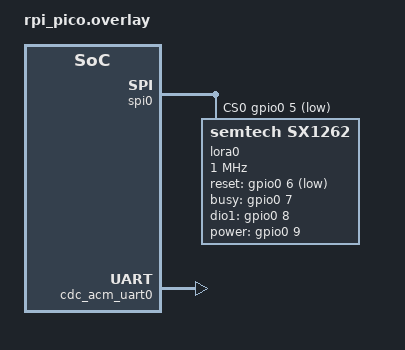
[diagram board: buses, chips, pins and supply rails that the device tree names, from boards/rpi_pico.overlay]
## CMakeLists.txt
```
# SPDX-License-Identifier: MIT

cmake_minimum_required(VERSION 3.20.0)

find_package(Zephyr REQUIRED HINTS $ENV{ZEPHYR_BASE})
project(aether_modem)

target_sources(app PRIVATE 
    src/main.c
    src/at_parser.c
    src/at_commands.c
    src/message_store.c
)
```

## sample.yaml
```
sample:
  name: Æther AT Command Modem
  description: AT command interface for Æther mesh network access
  
common:
  tags:
    - net
    - lora
    - mesh
    - modem
    - usb
    
  harness: console
  harness_config:
    type: one_line
    regex:
      - "Aether modem ready"
      
  platform_allow:
    - rpi_pico
    - esp32s3_devkitc/esp32s3/procpu
    - nrf52840dk_nrf52840
    
  integration_platforms:
    - rpi_pico
    
  filter: dt_chosen_enabled("zephyr,lora") and CONFIG_USB_DEVICE_STACK
  
tests:
  sample.net.aether.modem:
    tags:
      - net
      - lora
      - usb
```

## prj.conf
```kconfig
# SPDX-License-Identifier: MIT

# Networking
CONFIG_NETWORKING=y
CONFIG_NET_L2_CUSTOM=y

# LoRa and Æther stack
CONFIG_LORA=y
CONFIG_LORA_SX126X=y
CONFIG_NET_L2_HEYMAC=y
CONFIG_AETHER_MESH=y
CONFIG_AETHER_LORA=y

# USB CDC ACM for serial interface
CONFIG_USB_DEVICE_STACK=y
CONFIG_USB_DEVICE_PRODUCT="Aether Modem"
CONFIG_USB_DEVICE_VID=0x2E8A
CONFIG_USB_DEVICE_PID=0x000A
CONFIG_USB_CDC_ACM=y

# UART for AT commands
CONFIG_SERIAL=y
CONFIG_UART_INTERRUPT_DRIVEN=y
CONFIG_UART_LINE_CTRL=y

# Console and shell disabled (using UART for AT commands)
CONFIG_CONSOLE=n
CONFIG_UART_CONSOLE=n
CONFIG_SHELL=n

# AT command interface
CONFIG_RING_BUFFER=y

# Message storage
CONFIG_HEAP_MEM_POOL_SIZE=8192

# Thread stack sizes (smaller for RP2040)
CONFIG_MAIN_STACK_SIZE=2048
CONFIG_AETHER_RX_STACK_SIZE=1536
CONFIG_AETHER_TX_STACK_SIZE=1024
CONFIG_SYSTEM_WORKQUEUE_STACK_SIZE=1024

# Logging (optional, can be disabled for production)
CONFIG_LOG=y
CONFIG_LOG_BACKEND_UART=n
CONFIG_LOG_BACKEND_RTT=y

# Power optimization
CONFIG_PM=y
CONFIG_PM_DEVICE=y

# Minimal footprint optimizations
CONFIG_SIZE_OPTIMIZATIONS=y
CONFIG_COMPILER_OPT="-Os"
CONFIG_PRINTK=n
```

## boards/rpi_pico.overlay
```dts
/*
 * Copyright (c) 2025 Æther Authors
 *
 * SPDX-License-Identifier: MIT
 */

/ {
    chosen {
        zephyr,lora = &lora0;
    };
    
    aether_config: aether-mesh-net {
        compatible = "aether-mesh-net";
        network-id = <0x915E>;
        mesh-enabled = <1>;
        max-hops = <6>;
        hello-interval = <60>;      /* Longer interval for power saving */
        route-timeout = <600>;
        use-short-addr = <1>;       /* Use short addresses by default */
        conditional-net-id = <1>;   /* Enable optimization */
    };
};

&spi0 {
    status = "okay";
    cs-gpios = <&gpio0 5 GPIO_ACTIVE_LOW>;
    
    lora0: sx1262@0 {
        compatible = "semtech,sx1262";
        reg = <0>;
        spi-max-frequency = <1000000>;
        
        /* RP2040 Pico pin assignments */
        reset-gpios = <&gpio0 6 GPIO_ACTIVE_LOW>;
        busy-gpios = <&gpio0 7 GPIO_ACTIVE_HIGH>;
        dio1-gpios = <&gpio0 8 GPIO_ACTIVE_HIGH>;
        
        /* Optional power control */
        power-gpios = <&gpio0 9 GPIO_ACTIVE_HIGH>;
        
        status = "okay";
    };
};

/* USB CDC ACM is default on Pico */
&zephyr_udc0 {
    cdc_acm_uart0: cdc_acm_uart0 {
        compatible = "zephyr,cdc-acm-uart";
    };
};
```

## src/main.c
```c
/*
 * Copyright (c) 2025 Æther Authors
 *
 * SPDX-License-Identifier: MIT
 */

#include <zephyr/kernel.h>
#include <zephyr/device.h>
#include <zephyr/drivers/uart.h>
#include <zephyr/usb/usb_device.h>
#include <zephyr/net/net_if.h>
#include <zephyr/net/heymac.h>
#include <zephyr/net/aether_mesh.h>
#include <zephyr/logging/log.h>

LOG_MODULE_REGISTER(aether_modem, LOG_LEVEL_INF);

/* AT command interface headers */
#include "at_parser.h"
#include "at_commands.h"
#include "message_store.h"

/* UART device for AT commands */
static const struct device *uart_dev;
static struct net_if *aether_iface;

/* AT command buffer */
#define AT_CMD_BUF_SIZE 256
static char at_cmd_buf[AT_CMD_BUF_SIZE];
static size_t at_cmd_pos = 0;

/* UART interrupt handler */
static void uart_isr(const struct device *dev, void *user_data)
{
	uint8_t c;

	if (!uart_irq_update(dev)) {
		return;
	}

	while (uart_irq_rx_ready(dev)) {
		if (uart_fifo_read(dev, &c, 1) != 1) {
			continue;
		}

		/* Handle AT command input */
		if (c == '\r' || c == '\n') {
			if (at_cmd_pos > 0) {
				at_cmd_buf[at_cmd_pos] = '\0';
				/* Process AT command */
				at_parser_process_command(at_cmd_buf);
				at_cmd_pos = 0;
			}
		} else if (at_cmd_pos < AT_CMD_BUF_SIZE - 1) {
			at_cmd_buf[at_cmd_pos++] = c;
			/* Echo character if enabled */
			if (at_get_echo_mode()) {
				uart_poll_out(dev, c);
			}
		}
	}
}

/* UART helper functions */
void at_uart_send(const char *str)
{
	const char *p = str;
	
	while (*p) {
		uart_poll_out(uart_dev, *p++);
	}
	uart_poll_out(uart_dev, '\r');
	uart_poll_out(uart_dev, '\n');
}

void at_uart_send_raw(const char *str)
{
	const char *p = str;
	
	while (*p) {
		uart_poll_out(uart_dev, *p++);
	}
}

/* Main entry point */
int main(void)
{
	int ret;

	LOG_INF("Æther Modem Starting");

	/* Get UART device */
	uart_dev = DEVICE_DT_GET(DT_CHOSEN(zephyr_console));
	if (!device_is_ready(uart_dev)) {
		LOG_ERR("UART device not ready");
		return -ENODEV;
	}

	/* Configure UART */
	const struct uart_config uart_cfg = {
		.baudrate = 9600,
		.parity = UART_CFG_PARITY_NONE,
		.stop_bits = UART_CFG_STOP_BITS_1,
		.data_bits = UART_CFG_DATA_BITS_8,
		.flow_ctrl = UART_CFG_FLOW_CTRL_NONE
	};
	
	ret = uart_configure(uart_dev, &uart_cfg);
	if (ret < 0) {
		LOG_ERR("Failed to configure UART: %d", ret);
		return ret;
	}

	/* Setup UART interrupt */
	uart_irq_callback_user_data_set(uart_dev, uart_isr, NULL);
	uart_irq_rx_enable(uart_dev);

#ifdef CONFIG_USB_DEVICE_STACK
	/* Initialize USB */
	ret = usb_enable(NULL);
	if (ret < 0) {
		LOG_ERR("Failed to enable USB: %d", ret);
		return ret;
	}
	
	/* Wait for USB to be ready */
	k_sleep(K_SECONDS(1));
#endif

	/* Get network interface */
	aether_iface = net_if_get_default();
	if (!aether_iface) {
		LOG_ERR("No network interface available");
		return -ENODEV;
	}

	/* Initialize AT command processor */
	at_parser_init(aether_iface);
	
	/* Initialize message store */
	msg_store_init();

	/* Send ready message */
	at_uart_send("Aether modem ready");
	at_uart_send("OK");

	LOG_INF("AT command interface ready");

	/* Main loop - everything handled in interrupts/threads */
	while (1) {
		k_sleep(K_FOREVER);
	}

	return 0;
}
```

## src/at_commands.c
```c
/*
 * Copyright (c) 2025 Æther Authors
 *
 * SPDX-License-Identifier: MIT
 */

#include <zephyr/kernel.h>
#include <zephyr/logging/log.h>
#include <zephyr/net/heymac.h>
#include <zephyr/net/aether_mesh.h>
#include <zephyr/sys/reboot.h>
#include <string.h>
#include <stdlib.h>
#include <ctype.h>

#include "at_commands.h"
#include "message_store.h"

LOG_MODULE_REGISTER(at_commands, LOG_LEVEL_DBG);

/* Command table */
static const struct at_command system_commands[] = {
	{ "RESET",    cmd_reset,    "Reset the interface device" },
	{ "VER",      cmd_version,  "Query firmware version" },
	{ "ECHO",     cmd_echo,     "Enable/disable command echo" },
	{ "VERBOSE",  cmd_verbose,  "Set verbosity level (0-2)" },
	{ "BAUD",     cmd_baud,     "Set baud rate" },
	{ "FLOW",     cmd_flow,     "Set flow control mode" },
	{ "SAVE",     cmd_save,     "Save current settings" },
	{ "HELP",     cmd_help,     "List available commands" },
	{ NULL, NULL, NULL }
};

static const struct at_command network_commands[] = {
	{ "INIT",      cmd_init,      "Initialize LoRa hardware" },
	{ "NETALIAS",  cmd_netalias,  "Set node alias name" },
	{ "NETADDR",   cmd_netaddr,   "Query LoRa network address" },
	{ "NETID",     cmd_netid,     "Set network ID" },
	{ "NETJOIN",   cmd_netjoin,   "Join Aether network" },
	{ "NETLEAVE",  cmd_netleave,  "Leave Aether network" },
	{ "NETSTAT",   cmd_netstat,   "Network status" },
	{ "NEIGH",     cmd_neigh,     "List neighbor nodes" },
	{ "ROUTE",     cmd_route,     "Query routing table" },
	{ "DUTYCYCLE", cmd_dutycycle, "Query remaining duty cycle" },
	{ "SLEEP",     cmd_sleep,     "Enter power saving mode" },
	{ "WAKE",      cmd_wake,      "Wake from sleep mode" },
	{ NULL, NULL, NULL }
};

static const struct at_command message_commands[] = {
	{ "MSGSEND",  cmd_msgsend,  "Begin message send" },
	{ "MSGTO",    cmd_msgto,    "Set default message destination" },
	{ "MSGMODE",  cmd_msgmode,  "Set message mode" },
	{ "MSGRECV",  cmd_msgrecv,  "Check for received messages" },
	{ "MSGREAD",  cmd_msgread,  "Read specific message" },
	{ "MSGLIST",  cmd_msglist,  "List stored messages" },
	{ "MSGDEL",   cmd_msgdel,   "Delete message" },
	{ "MSGACK",   cmd_msgack,   "Configure delivery reports" },
	{ "MSGSENT",  cmd_msgsent,  "Check if message was sent" },
	{ NULL, NULL, NULL }
};

/* Command categories */
static const struct at_command *command_tables[] = {
	[AT_CAT_SYSTEM] = system_commands,
	[AT_CAT_NETWORK] = network_commands,
	[AT_CAT_MESSAGE] = message_commands,
	/* TODO: Add other categories */
};

/* Parser reference */
static struct at_parser *g_parser;

/* Initialize commands */
void at_commands_init(struct at_parser *parser)
{
	g_parser = parser;
	LOG_DBG("AT commands initialized");
}

/* Find and dispatch command */
bool at_dispatch_command(const char *cmd, const char *params, bool query)
{
	/* Search all command tables */
	for (int cat = 0; cat < AT_CAT_MAX; cat++) {
		const struct at_command *table = command_tables[cat];
		if (!table) continue;
		
		for (int i = 0; table[i].name; i++) {
			if (strcmp(cmd, table[i].name) == 0) {
				if (table[i].handler) {
					int ret = table[i].handler(params, query);
					if (ret < 0) {
						return false;
					}
					return true;
				}
			}
		}
	}
	
	return false;
}

/* Helper functions */
int at_parse_hex(const char *str, uint8_t *buf, size_t max_len)
{
	size_t len = 0;
	
	while (*str && len < max_len) {
		char hex[3] = {0};
		hex[0] = *str++;
		if (!*str) break;
		hex[1] = *str++;
		
		buf[len++] = (uint8_t)strtol(hex, NULL, 16);
	}
	
	return len;
}

int at_parse_int(const char *str, int *value)
{
	char *endptr;
	*value = strtol(str, &endptr, 10);
	return (*endptr == '\0') ? 0 : -EINVAL;
}

int at_parse_uint(const char *str, unsigned int *value)
{
	char *endptr;
	*value = strtoul(str, &endptr, 10);
	return (*endptr == '\0') ? 0 : -EINVAL;
}

bool at_parse_bool(const char *str)
{
	return (strcmp(str, "1") == 0 || 
	        strcasecmp(str, "true") == 0 ||
	        strcasecmp(str, "on") == 0);
}

/* System Commands Implementation */

int cmd_reset(const char *params, bool query)
{
	ARG_UNUSED(params);
	ARG_UNUSED(query);
	
	at_send_response(AT_OK);
	k_sleep(K_MSEC(100));  /* Let response go out */
	sys_reboot(SYS_REBOOT_COLD);
	return 0;
}

int cmd_version(const char *params, bool query)
{
	ARG_UNUSED(params);
	
	if (!query) {
		at_send_error(AT_ERR_INVALID_CMD);
		return -EINVAL;
	}
	
	at_send_response_fmt("+VER: Aether Modem v1.0.0");
	at_send_response_fmt("+VER: Zephyr %s", KERNEL_VERSION_STRING);
	at_send_response(AT_OK);
	return 0;
}

int cmd_echo(const char *params, bool query)
{
	if (query) {
		at_send_response_fmt("+ECHO: %d", g_parser->config.echo_enabled ? 1 : 0);
		at_send_response(AT_OK);
		return 0;
	}
	
	if (!params) {
		at_send_error(AT_ERR_INVALID_PARAM);
		return -EINVAL;
	}
	
	g_parser->config.echo_enabled = at_parse_bool(params);
	at_send_response(AT_OK);
	return 0;
}

int cmd_verbose(const char *params, bool query)
{
	if (query) {
		at_send_response_fmt("+VERBOSE: %d", g_parser->config.verbose_level);
		at_send_response(AT_OK);
		return 0;
	}
	
	if (!params) {
		at_send_error(AT_ERR_INVALID_PARAM);
		return -EINVAL;
	}
	
	unsigned int level;
	if (at_parse_uint(params, &level) < 0 || level > 2) {
		at_send_error(AT_ERR_INVALID_PARAM);
		return -EINVAL;
	}
	
	g_parser->config.verbose_level = level;
	at_send_response(AT_OK);
	return 0;
}

int cmd_help(const char *params, bool query)
{
	ARG_UNUSED(query);
	
	if (params && strlen(params) > 0) {
		/* Help for specific command */
		for (int cat = 0; cat < AT_CAT_MAX; cat++) {
			const struct at_command *table = command_tables[cat];
			if (!table) continue;
			
			for (int i = 0; table[i].name; i++) {
				if (strcasecmp(params, table[i].name) == 0) {
					at_send_response_fmt("+HELP: %s - %s", 
					                     table[i].name, table[i].help);
					at_send_response(AT_OK);
					return 0;
				}
			}
		}
		at_send_error(AT_ERR_INVALID_PARAM);
		return -EINVAL;
	}
	
	/* List all commands */
	at_send_response("+HELP: Available commands:");
	for (int cat = 0; cat < AT_CAT_MAX; cat++) {
		const struct at_command *table = command_tables[cat];
		if (!table) continue;
		
		for (int i = 0; table[i].name; i++) {
			at_send_response_fmt("+HELP: AT+%s", table[i].name);
		}
	}
	at_send_response(AT_OK);
	return 0;
}

/* Network Commands Implementation */

int cmd_init(const char *params, bool query)
{
	ARG_UNUSED(params);
	ARG_UNUSED(query);
	
	if (g_parser->initialized) {
		at_send_response(AT_OK);
		return 0;
	}
	
	/* Wait for network interface */
	if (!net_if_is_up(g_parser->iface)) {
		at_send_error(AT_ERR_NET_NOT_INIT);
		return -ENETDOWN;
	}
	
	g_parser->initialized = true;
	at_send_response(AT_OK);
	return 0;
}

int cmd_netalias(const char *params, bool query)
{
	if (query) {
		at_send_response_fmt("+NETALIAS: %s", g_parser->config.node_alias);
		at_send_response(AT_OK);
		return 0;
	}
	
	if (!params || strlen(params) == 0 || strlen(params) > 15) {
		at_send_error(AT_ERR_INVALID_PARAM);
		return -EINVAL;
	}
	
	strncpy(g_parser->config.node_alias, params, 15);
	g_parser->config.node_alias[15] = '\0';
	at_send_response(AT_OK);
	return 0;
}

int cmd_netaddr(const char *params, bool query)
{
	ARG_UNUSED(params);
	
	if (!query) {
		at_send_error(AT_ERR_INVALID_CMD);
		return -EINVAL;
	}
	
	if (!g_parser->initialized) {
		at_send_error(AT_ERR_NET_NOT_INIT);
		return -ENETDOWN;
	}
	
	struct heymac_addr addr;
	if (heymac_get_addr(g_parser->iface, &addr) < 0) {
		at_send_error(AT_ERR_UNKNOWN);
		return -EIO;
	}
	
	if (heymac_addr_is_short(&addr)) {
		at_send_response_fmt("+NETADDR: %02X%02X", 
		                     addr.short_addr[0], addr.short_addr[1]);
	} else {
		at_send_response_fmt("+NETADDR: %02X%02X%02X%02X%02X%02X",
		                     addr.long_addr[0], addr.long_addr[1],
		                     addr.long_addr[2], addr.long_addr[3],
		                     addr.long_addr[4], addr.long_addr[5]);
	}
	at_send_response(AT_OK);
	return 0;
}

int cmd_netjoin(const char *params, bool query)
{
	ARG_UNUSED(params);
	ARG_UNUSED(query);
	
	if (!g_parser->initialized) {
		at_send_error(AT_ERR_NET_NOT_INIT);
		return -ENETDOWN;
	}
	
	if (g_parser->connected) {
		at_send_response(AT_OK);
		return 0;
	}
	
	/* Initialize Æther mesh */
	int ret = aether_mesh_init(g_parser->iface, g_parser->config.network_id);
	if (ret < 0) {
		at_send_error(AT_ERR_NET_NOT_CONNECTED);
		return ret;
	}
	
	g_parser->connected = true;
	at_send_response(AT_OK);
	at_send_notification("NETJOIN", "CONNECTED");
	return 0;
}

int cmd_netleave(const char *params, bool query)
{
	ARG_UNUSED(params);
	ARG_UNUSED(query);
	
	if (!g_parser->connected) {
		at_send_response(AT_OK);
		return 0;
	}
	
	/* TODO: Implement mesh leave */
	g_parser->connected = false;
	at_send_response(AT_OK);
	at_send_notification("NETLEAVE", "DISCONNECTED");
	return 0;
}

int cmd_netstat(const char *params, bool query)
{
	ARG_UNUSED(params);
	ARG_UNUSED(query);
	
	at_send_response_fmt("+NETSTAT: INIT=%d", g_parser->initialized ? 1 : 0);
	at_send_response_fmt("+NETSTAT: CONNECTED=%d", g_parser->connected ? 1 : 0);
	
	if (g_parser->connected) {
		int neighbors = aether_mesh_get_neighbor_count(g_parser->iface);
		int routes = aether_mesh_get_route_count(g_parser->iface);
		at_send_response_fmt("+NETSTAT: NEIGHBORS=%d", neighbors);
		at_send_response_fmt("+NETSTAT: ROUTES=%d", routes);
	}
	
	at_send_response(AT_OK);
	return 0;
}

int cmd_neigh(const char *params, bool query)
{
	ARG_UNUSED(params);
	ARG_UNUSED(query);
	
	if (!g_parser->connected) {
		at_send_error(AT_ERR_NET_NOT_CONNECTED);
		return -ENETDOWN;
	}
	
	/* TODO: Implement neighbor listing */
	at_send_response("+NEIGH: No neighbors");
	at_send_response(AT_OK);
	return 0;
}

/* Stub implementations for remaining commands */
int cmd_baud(const char *params, bool query) { return 0; }
int cmd_flow(const char *params, bool query) { return 0; }
int cmd_save(const char *params, bool query) { return 0; }
int cmd_netid(const char *params, bool query) { return 0; }
int cmd_route(const char *params, bool query) { return 0; }
int cmd_dutycycle(const char *params, bool query) { return 0; }
int cmd_sleep(const char *params, bool query) { return 0; }
int cmd_wake(const char *params, bool query) { return 0; }
int cmd_msgsend(const char *params, bool query) { return 0; }
int cmd_msgto(const char *params, bool query) { return 0; }
int cmd_msgmode(const char *params, bool query) { return 0; }
int cmd_msgrecv(const char *params, bool query) { return 0; }
int cmd_msgread(const char *params, bool query) { return 0; }
int cmd_msglist(const char *params, bool query) { return 0; }
int cmd_msgdel(const char *params, bool query) { return 0; }
int cmd_msgack(const char *params, bool query) { return 0; }
int cmd_msgsent(const char *params, bool query) { return 0; }
```

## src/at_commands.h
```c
/*
 * Copyright (c) 2025 Æther Authors
 *
 * SPDX-License-Identifier: MIT
 */

#ifndef AT_COMMANDS_H_
#define AT_COMMANDS_H_

#include <stdbool.h>
#include "at_parser.h"

/* Command handler function type */
typedef int (*at_cmd_handler_t)(const char *params, bool query);

/* Command entry */
struct at_command {
	const char *name;
	at_cmd_handler_t handler;
	const char *help;
};

/* Command categories for organization */
enum at_cmd_category {
	AT_CAT_SYSTEM,
	AT_CAT_NETWORK,
	AT_CAT_MESSAGE,
	AT_CAT_9P,
	AT_CAT_STORE_FWD,
	AT_CAT_SERVICE,
	AT_CAT_SECURITY,
	AT_CAT_MAX
};

/* Initialize command handlers */
void at_commands_init(struct at_parser *parser);

/* Dispatch command to handler */
bool at_dispatch_command(const char *cmd, const char *params, bool query);

/* Helper functions for command handlers */
int at_parse_hex(const char *str, uint8_t *buf, size_t max_len);
int at_parse_int(const char *str, int *value);
int at_parse_uint(const char *str, unsigned int *value);
bool at_parse_bool(const char *str);

/* UART helpers */
void at_uart_send(const char *str);
void at_uart_send_raw(const char *str);

/* Global parser access */
struct at_parser *at_get_parser(void);
int at_setup_data_mode(size_t expected_len, 
                       void (*handler)(const uint8_t *, size_t, void *),
                       void *user_data);

/* System commands */
int cmd_reset(const char *params, bool query);
int cmd_version(const char *params, bool query);
int cmd_echo(const char *params, bool query);
int cmd_verbose(const char *params, bool query);
int cmd_baud(const char *params, bool query);
int cmd_flow(const char *params, bool query);
int cmd_save(const char *params, bool query);
int cmd_help(const char *params, bool query);

/* Network commands */
int cmd_init(const char *params, bool query);
int cmd_netalias(const char *params, bool query);
int cmd_netaddr(const char *params, bool query);
int cmd_netid(const char *params, bool query);
int cmd_netjoin(const char *params, bool query);
int cmd_netleave(const char *params, bool query);
int cmd_netstat(const char *params, bool query);
int cmd_neigh(const char *params, bool query);
int cmd_route(const char *params, bool query);
int cmd_dutycycle(const char *params, bool query);
int cmd_sleep(const char *params, bool query);
int cmd_wake(const char *params, bool query);

/* Message commands */
int cmd_msgsend(const char *params, bool query);
int cmd_msgto(const char *params, bool query);
int cmd_msgmode(const char *params, bool query);
int cmd_msgrecv(const char *params, bool query);
int cmd_msgread(const char *params, bool query);
int cmd_msglist(const char *params, bool query);
int cmd_msgdel(const char *params, bool query);
int cmd_msgack(const char *params, bool query);
int cmd_msgsent(const char *params, bool query);

/* 9P/Styx commands */
int cmd_9p_attach(const char *params, bool query);
int cmd_9p_walk(const char *params, bool query);
int cmd_9p_open(const char *params, bool query);
int cmd_9p_read(const char *params, bool query);
int cmd_9p_write(const char *params, bool query);
int cmd_9p_stat(const char *params, bool query);
int cmd_9p_clunk(const char *params, bool query);
int cmd_9p_ls(const char *params, bool query);
int cmd_9p_cat(const char *params, bool query);
int cmd_9p_mkdir(const char *params, bool query);
int cmd_9p_touch(const char *params, bool query);

/* Store-and-forward commands */
int cmd_sf_queue(const char *params, bool query);
int cmd_sf_status(const char *params, bool query);
int cmd_sf_list(const char *params, bool query);
int cmd_sf_cache(const char *params, bool query);
int cmd_sf_purge(const char *params, bool query);
int cmd_sf_prefs(const char *params, bool query);

/* Service commands */
int cmd_svc_list(const char *params, bool query);
int cmd_svc_conn(const char *params, bool query);
int cmd_svc_disc(const char *params, bool query);
int cmd_bbs_ls(const char *params, bool query);
int cmd_bbs_read(const char *params, bool query);
int cmd_bbs_post(const char *params, bool query);
int cmd_chat_join(const char *params, bool query);
int cmd_chat_send(const char *params, bool query);
int cmd_finger(const char *params, bool query);

/* Security commands */
int cmd_auth(const char *params, bool query);
int cmd_authkey(const char *params, bool query);
int cmd_encrypt(const char *params, bool query);

#endif /* AT_COMMANDS_H_ */
```

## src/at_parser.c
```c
/*
 * Copyright (c) 2025 Æther Authors
 *
 * SPDX-License-Identifier: MIT
 */

#include <zephyr/kernel.h>
#include <zephyr/logging/log.h>
#include <stdio.h>
#include <string.h>
#include <ctype.h>

#include "at_parser.h"
#include "at_commands.h"

LOG_MODULE_REGISTER(at_parser, LOG_LEVEL_DBG);

/* Global parser instance */
static struct at_parser g_parser;

/* Error messages */
static const char *at_error_messages[] = {
	"Unknown error",
	"Invalid command",
	"Invalid parameter",
	"Network not initialized",
	"Network not connected",
	"Transmission failed",
	"Message too long",
	"No message available",
	"Invalid FID",
	"File not found",
	"Permission denied",
	"Insufficient resources",
	"Duty cycle limit reached",
	"Service unavailable",
	"Authentication failed",
};

/* Forward declarations */
static void parse_command_line(const char *cmd);
static int parse_parameters(const char *params, char *argv[], int max_args);

/* Initialize parser */
void at_parser_init(struct net_if *iface)
{
	memset(&g_parser, 0, sizeof(g_parser));
	
	g_parser.iface = iface;
	g_parser.state = AT_STATE_IDLE;
	
	/* Default configuration */
	g_parser.config.echo_enabled = true;
	g_parser.config.verbose_level = 1;
	g_parser.config.baud_rate = 9600;
	g_parser.config.flow_control = 0;  /* None */
	g_parser.config.network_id = 0x915E;
	strcpy(g_parser.config.node_alias, "MODEM");
	
	k_mutex_init(&g_parser.lock);
	
	/* Initialize command handlers */
	at_commands_init(&g_parser);
	
	LOG_INF("AT parser initialized");
}

/* Process AT command */
void at_parser_process_command(const char *cmd)
{
	k_mutex_lock(&g_parser.lock, K_FOREVER);
	
	g_parser.commands_processed++;
	
	/* Skip empty commands */
	if (!cmd || strlen(cmd) == 0) {
		k_mutex_unlock(&g_parser.lock);
		return;
	}
	
	/* Check if we're waiting for data */
	if (g_parser.state == AT_STATE_WAIT_DATA) {
		/* This shouldn't happen - data should come through process_data */
		at_send_error(AT_ERR_INVALID_CMD);
		g_parser.state = AT_STATE_IDLE;
		k_mutex_unlock(&g_parser.lock);
		return;
	}
	
	/* Process the command */
	parse_command_line(cmd);
	
	k_mutex_unlock(&g_parser.lock);
}

/* Parse command line */
static void parse_command_line(const char *cmd)
{
	char cmd_buf[256];
	char *cmd_name;
	char *params;
	
	/* Make a copy for parsing */
	strncpy(cmd_buf, cmd, sizeof(cmd_buf) - 1);
	cmd_buf[sizeof(cmd_buf) - 1] = '\0';
	
	/* Convert to uppercase for command matching */
	for (int i = 0; cmd_buf[i] && cmd_buf[i] != '=' && cmd_buf[i] != '?'; i++) {
		cmd_buf[i] = toupper(cmd_buf[i]);
	}
	
	/* Check for basic "AT" command */
	if (strcmp(cmd_buf, "AT") == 0) {
		at_send_response(AT_OK);
		return;
	}
	
	/* Check for "AT+" prefix */
	if (strncmp(cmd_buf, "AT+", 3) != 0) {
		at_send_error(AT_ERR_INVALID_CMD);
		return;
	}
	
	/* Extract command name and parameters */
	cmd_name = cmd_buf + 3;  /* Skip "AT+" */
	
	/* Find parameter separator */
	params = strchr(cmd_name, '=');
	if (params) {
		*params = '\0';
		params++;
	} else {
		/* Check for query suffix */
		char *query = strchr(cmd_name, '?');
		if (query) {
			*query = '\0';
			/* Query commands have no parameters */
			params = NULL;
		}
	}
	
	/* Dispatch to command handler */
	if (!at_dispatch_command(cmd_name, params, strchr(cmd, '?') != NULL)) {
		at_send_error(AT_ERR_INVALID_CMD);
	}
}

/* Parse comma-separated parameters */
static int parse_parameters(const char *params, char *argv[], int max_args)
{
	int argc = 0;
	char *p;
	char *param_copy;
	
	if (!params || strlen(params) == 0) {
		return 0;
	}
	
	/* Make a copy for strtok */
	param_copy = k_malloc(strlen(params) + 1);
	if (!param_copy) {
		return -ENOMEM;
	}
	strcpy(param_copy, params);
	
	/* Parse parameters */
	p = strtok(param_copy, ",");
	while (p && argc < max_args) {
		/* Skip leading/trailing spaces */
		while (*p == ' ') p++;
		char *end = p + strlen(p) - 1;
		while (end > p && *end == ' ') *end-- = '\0';
		
		/* Allocate and copy parameter */
		argv[argc] = k_malloc(strlen(p) + 1);
		if (argv[argc]) {
			strcpy(argv[argc], p);
			argc++;
		}
		
		p = strtok(NULL, ",");
	}
	
	k_free(param_copy);
	return argc;
}

/* Process data input */
void at_parser_process_data(const uint8_t *data, size_t len)
{
	k_mutex_lock(&g_parser.lock, K_FOREVER);
	
	if (g_parser.state != AT_STATE_WAIT_DATA) {
		/* Not expecting data */
		k_mutex_unlock(&g_parser.lock);
		return;
	}
	
	/* Copy data to buffer */
	size_t copy_len = MIN(len, g_parser.data_ctx.expected_len - g_parser.data_ctx.received_len);
	if (g_parser.data_ctx.buffer) {
		memcpy(g_parser.data_ctx.buffer + g_parser.data_ctx.received_len, data, copy_len);
	}
	g_parser.data_ctx.received_len += copy_len;
	
	/* Check if we have all data */
	if (g_parser.data_ctx.received_len >= g_parser.data_ctx.expected_len) {
		/* Call handler */
		if (g_parser.data_ctx.handler) {
			g_parser.data_ctx.handler(g_parser.data_ctx.buffer, 
			                         g_parser.data_ctx.received_len,
			                         g_parser.data_ctx.user_data);
		}
		
		/* Clean up */
		if (g_parser.data_ctx.buffer) {
			k_free(g_parser.data_ctx.buffer);
			g_parser.data_ctx.buffer = NULL;
		}
		
		g_parser.state = AT_STATE_IDLE;
	}
	
	k_mutex_unlock(&g_parser.lock);
}

/* Set up data input mode */
int at_setup_data_mode(size_t expected_len, 
                       void (*handler)(const uint8_t *, size_t, void *),
                       void *user_data)
{
	if (g_parser.state != AT_STATE_IDLE) {
		return -EBUSY;
	}
	
	/* Allocate buffer */
	g_parser.data_ctx.buffer = k_malloc(expected_len);
	if (!g_parser.data_ctx.buffer) {
		return -ENOMEM;
	}
	
	g_parser.data_ctx.handler = handler;
	g_parser.data_ctx.user_data = user_data;
	g_parser.data_ctx.expected_len = expected_len;
	g_parser.data_ctx.received_len = 0;
	
	g_parser.state = AT_STATE_WAIT_DATA;
	
	/* Send prompt */
	at_send_prompt();
	
	return 0;
}

/* Send response */
void at_send_response(const char *response)
{
	extern void at_uart_send(const char *str);
	at_uart_send(response);
}

/* Send formatted response */
void at_send_response_fmt(const char *fmt, ...)
{
	char buf[256];
	va_list args;
	
	va_start(args, fmt);
	vsnprintf(buf, sizeof(buf), fmt, args);
	va_end(args);
	
	at_send_response(buf);
}

/* Send error response */
void at_send_error(enum at_error err)
{
	if (g_parser.config.verbose_level > 0) {
		at_send_response_fmt("%s %d: %s", AT_ERROR, err, 
		                     at_error_messages[MIN(err, ARRAY_SIZE(at_error_messages) - 1)]);
	} else {
		at_send_response_fmt("%s %d", AT_ERROR, err);
	}
	
	g_parser.errors++;
}

/* Send data prompt */
void at_send_prompt(void)
{
	extern void at_uart_send_raw(const char *str);
	at_uart_send_raw("> ");
}

/* Send unsolicited notification */
void at_send_notification(const char *event, const char *data)
{
	at_send_response_fmt("+%s: %s", event, data);
}

/* Getters */
bool at_get_echo_mode(void)
{
	return g_parser.config.echo_enabled;
}

enum at_state at_get_state(void)
{
	return g_parser.state;
}

bool at_is_initialized(void)
{
	return g_parser.initialized;
}

bool at_is_connected(void)
{
	return g_parser.connected;
}

/* Get parser instance */
struct at_parser *at_get_parser(void)
{
	return &g_parser;
}
```

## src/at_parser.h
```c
/*
 * Copyright (c) 2025 Æther Authors
 *
 * SPDX-License-Identifier: MIT
 */

#ifndef AT_PARSER_H_
#define AT_PARSER_H_

#include <zephyr/kernel.h>
#include <zephyr/net/net_if.h>
#include <stdbool.h>

/* AT command response codes */
#define AT_OK           "OK"
#define AT_ERROR        "ERROR"
#define AT_PROMPT       ">"

/* AT error codes */
enum at_error {
	AT_ERR_UNKNOWN = 0,
	AT_ERR_INVALID_CMD = 1,
	AT_ERR_INVALID_PARAM = 2,
	AT_ERR_NET_NOT_INIT = 3,
	AT_ERR_NET_NOT_CONNECTED = 4,
	AT_ERR_TX_FAILED = 5,
	AT_ERR_MSG_TOO_LONG = 6,
	AT_ERR_NO_MSG = 7,
	AT_ERR_INVALID_FID = 8,
	AT_ERR_FILE_NOT_FOUND = 9,
	AT_ERR_PERMISSION_DENIED = 10,
	AT_ERR_NO_RESOURCES = 11,
	AT_ERR_DUTY_CYCLE = 12,
	AT_ERR_SERVICE_UNAVAIL = 13,
	AT_ERR_AUTH_FAILED = 14,
};

/* AT parser configuration */
struct at_config {
	bool echo_enabled;
	uint8_t verbose_level;  /* 0=minimal, 1=normal, 2=verbose */
	uint32_t baud_rate;
	uint8_t flow_control;   /* 0=none, 1=XON/XOFF, 2=RTS/CTS */
	uint16_t network_id;
	char node_alias[16];
};

/* AT parser state */
enum at_state {
	AT_STATE_IDLE,
	AT_STATE_WAIT_DATA,     /* Waiting for data after '>' prompt */
	AT_STATE_EXECUTING,     /* Command executing */
};

/* Data input context */
struct at_data_ctx {
	void (*handler)(const uint8_t *data, size_t len, void *user_data);
	void *user_data;
	size_t expected_len;
	size_t received_len;
	uint8_t *buffer;
};

/* AT parser context */
struct at_parser {
	struct net_if *iface;
	struct at_config config;
	enum at_state state;
	struct at_data_ctx data_ctx;
	struct k_mutex lock;
	
	/* Modem state */
	bool initialized;
	bool connected;
	char default_dest[16];
	uint8_t msg_mode;       /* 0=text, 1=hex, 2=binary */
	
	/* Statistics */
	uint32_t commands_processed;
	uint32_t errors;
};

/* AT parser API */

/**
 * Initialize AT command parser
 */
void at_parser_init(struct net_if *iface);

/**
 * Process AT command
 */
void at_parser_process_command(const char *cmd);

/**
 * Process data input (after '>' prompt)
 */
void at_parser_process_data(const uint8_t *data, size_t len);

/**
 * Send response to host
 */
void at_send_response(const char *response);

/**
 * Send formatted response
 */
void at_send_response_fmt(const char *fmt, ...);

/**
 * Send error response
 */
void at_send_error(enum at_error err);

/**
 * Send data prompt
 */
void at_send_prompt(void);

/**
 * Send unsolicited notification
 */
void at_send_notification(const char *event, const char *data);

/**
 * Get echo mode
 */
bool at_get_echo_mode(void);

/**
 * Get parser state
 */
enum at_state at_get_state(void);

/**
 * Check if modem is initialized
 */
bool at_is_initialized(void);

/**
 * Check if connected to network
 */
bool at_is_connected(void);

#endif /* AT_PARSER_H_ */
```

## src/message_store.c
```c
/*
 * Copyright (c) 2025 Æther Authors
 *
 * SPDX-License-Identifier: MIT
 */

#include <zephyr/kernel.h>
#include <zephyr/logging/log.h>
#include <string.h>

#include "message_store.h"

LOG_MODULE_REGISTER(msg_store, LOG_LEVEL_DBG);

/* Global message store */
static struct msg_store g_store;

/* Initialize message store */
void msg_store_init(void)
{
	memset(&g_store, 0, sizeof(g_store));
	k_mutex_init(&g_store.lock);
	g_store.next_id = 1;
	
	/* Initialize semaphores */
	for (int i = 0; i < MSG_STORE_MAX_MESSAGES; i++) {
		k_sem_init(&g_store.messages[i].tx_sem, 0, 1);
	}
	
	LOG_INF("Message store initialized");
}

/* Find free slot */
static int find_free_slot(void)
{
	for (int i = 0; i < MSG_STORE_MAX_MESSAGES; i++) {
		if (g_store.messages[i].id == 0) {
			return i;
		}
	}
	return -1;
}

/* Store received message */
int msg_store_rx(const char *addr, const uint8_t *data, size_t len)
{
	int slot;
	struct msg_entry *msg;
	
	if (!addr || !data || len == 0 || len > MSG_STORE_MAX_SIZE) {
		return -EINVAL;
	}
	
	k_mutex_lock(&g_store.lock, K_FOREVER);
	
	slot = find_free_slot();
	if (slot < 0) {
		/* Store full - find oldest read message to replace */
		uint32_t oldest_time = UINT32_MAX;
		int oldest_slot = -1;
		
		for (int i = 0; i < MSG_STORE_MAX_MESSAGES; i++) {
			if (g_store.messages[i].direction == 0 &&
			    (g_store.messages[i].flags & MSG_FLAG_READ) &&
			    g_store.messages[i].timestamp < oldest_time) {
				oldest_time = g_store.messages[i].timestamp;
				oldest_slot = i;
			}
		}
		
		if (oldest_slot >= 0) {
			slot = oldest_slot;
		} else {
			k_mutex_unlock(&g_store.lock);
			g_store.dropped_count++;
			LOG_WRN("Message store full, dropping RX message");
			return -ENOMEM;
		}
	}
	
	msg = &g_store.messages[slot];
	memset(msg, 0, sizeof(*msg));
	
	msg->id = g_store.next_id++;
	msg->flags = 0;
	msg->direction = 0;  /* RX */
	strncpy(msg->addr, addr, MSG_STORE_MAX_ADDR_LEN - 1);
	memcpy(msg->data, data, len);
	msg->len = len;
	msg->timestamp = k_uptime_get_32();
	
	g_store.rx_count++;
	
	k_mutex_unlock(&g_store.lock);
	
	LOG_DBG("Stored RX message %d from %s, len=%zu", msg->id, addr, len);
	return msg->id;
}

/* Queue message for transmission */
int msg_store_tx(const char *addr, const uint8_t *data, size_t len, bool broadcast)
{
	int slot;
	struct msg_entry *msg;
	
	if ((!addr && !broadcast) || !data || len == 0 || len > MSG_STORE_MAX_SIZE) {
		return -EINVAL;
	}
	
	k_mutex_lock(&g_store.lock, K_FOREVER);
	
	slot = find_free_slot();
	if (slot < 0) {
		k_mutex_unlock(&g_store.lock);
		LOG_WRN("Message store full, cannot queue TX");
		return -ENOMEM;
	}
	
	msg = &g_store.messages[slot];
	memset(msg, 0, sizeof(*msg));
	
	msg->id = g_store.next_id++;
	msg->flags = MSG_FLAG_QUEUED;
	if (broadcast) {
		msg->flags |= MSG_FLAG_BROADCAST;
		strcpy(msg->addr, "BROADCAST");
	} else {
		strncpy(msg->addr, addr, MSG_STORE_MAX_ADDR_LEN - 1);
	}
	msg->direction = 1;  /* TX */
	memcpy(msg->data, data, len);
	msg->len = len;
	msg->timestamp = k_uptime_get_32();
	msg->retry_count = 0;
	
	g_store.tx_count++;
	
	k_mutex_unlock(&g_store.lock);
	
	LOG_DBG("Queued TX message %d to %s, len=%zu", msg->id, msg->addr, len);
	return msg->id;
}

/* Get message by ID */
struct msg_entry *msg_store_get(uint16_t id)
{
	struct msg_entry *msg = NULL;
	
	k_mutex_lock(&g_store.lock, K_FOREVER);
	
	for (int i = 0; i < MSG_STORE_MAX_MESSAGES; i++) {
		if (g_store.messages[i].id == id) {
			msg = &g_store.messages[i];
			break;
		}
	}
	
	k_mutex_unlock(&g_store.lock);
	return msg;
}

/* Delete message */
int msg_store_delete(uint16_t id)
{
	int ret = -ENOENT;
	
	k_mutex_lock(&g_store.lock, K_FOREVER);
	
	for (int i = 0; i < MSG_STORE_MAX_MESSAGES; i++) {
		if (g_store.messages[i].id == id) {
			g_store.messages[i].id = 0;  /* Mark as free */
			ret = 0;
			LOG_DBG("Deleted message %d", id);
			break;
		}
	}
	
	k_mutex_unlock(&g_store.lock);
	return ret;
}

/* Get message count */
int msg_store_count(bool rx_only)
{
	int count = 0;
	
	k_mutex_lock(&g_store.lock, K_FOREVER);
	
	for (int i = 0; i < MSG_STORE_MAX_MESSAGES; i++) {
		if (g_store.messages[i].id != 0) {
			if (!rx_only || g_store.messages[i].direction == 0) {
				count++;
			}
		}
	}
	
	k_mutex_unlock(&g_store.lock);
	return count;
}

/* Get next unread message */
struct msg_entry *msg_store_get_unread(void)
{
	struct msg_entry *msg = NULL;
	
	k_mutex_lock(&g_store.lock, K_FOREVER);
	
	for (int i = 0; i < MSG_STORE_MAX_MESSAGES; i++) {
		if (g_store.messages[i].id != 0 &&
		    g_store.messages[i].direction == 0 &&  /* RX */
		    !(g_store.messages[i].flags & MSG_FLAG_READ)) {
			msg = &g_store.messages[i];
			break;
		}
	}
	
	k_mutex_unlock(&g_store.lock);
	return msg;
}

/* Mark message as read */
int msg_store_mark_read(uint16_t id)
{
	int ret = -ENOENT;
	
	k_mutex_lock(&g_store.lock, K_FOREVER);
	
	for (int i = 0; i < MSG_STORE_MAX_MESSAGES; i++) {
		if (g_store.messages[i].id == id) {
			g_store.messages[i].flags |= MSG_FLAG_READ;
			ret = 0;
			break;
		}
	}
	
	k_mutex_unlock(&g_store.lock);
	return ret;
}

/* Mark TX message as sent */
int msg_store_mark_sent(uint16_t id, bool success)
{
	int ret = -ENOENT;
	
	k_mutex_lock(&g_store.lock, K_FOREVER);
	
	for (int i = 0; i < MSG_STORE_MAX_MESSAGES; i++) {
		if (g_store.messages[i].id == id) {
			g_store.messages[i].flags &= ~MSG_FLAG_QUEUED;
			if (success) {
				g_store.messages[i].flags |= MSG_FLAG_SENT;
			} else {
				g_store.messages[i].flags |= MSG_FLAG_FAILED;
			}
			/* Signal TX completion */
			k_sem_give(&g_store.messages[i].tx_sem);
			ret = 0;
			break;
		}
	}
	
	k_mutex_unlock(&g_store.lock);
	return ret;
}

/* Get next queued TX message */
struct msg_entry *msg_store_get_tx_queued(void)
{
	struct msg_entry *msg = NULL;
	
	k_mutex_lock(&g_store.lock, K_FOREVER);
	
	for (int i = 0; i < MSG_STORE_MAX_MESSAGES; i++) {
		if (g_store.messages[i].id != 0 &&
		    g_store.messages[i].direction == 1 &&  /* TX */
		    (g_store.messages[i].flags & MSG_FLAG_QUEUED)) {
			msg = &g_store.messages[i];
			break;
		}
	}
	
	k_mutex_unlock(&g_store.lock);
	return msg;
}

/* Clean up old messages */
int msg_store_cleanup(uint32_t max_age_ms)
{
	int count = 0;
	uint32_t now = k_uptime_get_32();
	
	k_mutex_lock(&g_store.lock, K_FOREVER);
	
	for (int i = 0; i < MSG_STORE_MAX_MESSAGES; i++) {
		if (g_store.messages[i].id != 0 &&
		    (now - g_store.messages[i].timestamp) > max_age_ms) {
			g_store.messages[i].id = 0;  /* Mark as free */
			count++;
		}
	}
	
	k_mutex_unlock(&g_store.lock);
	
	if (count > 0) {
		LOG_DBG("Cleaned up %d old messages", count);
	}
	
	return count;
}

/* Get statistics */
void msg_store_get_stats(uint32_t *rx_count, uint32_t *tx_count, uint32_t *dropped_count)
{
	k_mutex_lock(&g_store.lock, K_FOREVER);
	
	if (rx_count) *rx_count = g_store.rx_count;
	if (tx_count) *tx_count = g_store.tx_count;
	if (dropped_count) *dropped_count = g_store.dropped_count;
	
	k_mutex_unlock(&g_store.lock);
}
```

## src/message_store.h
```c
/*
 * Copyright (c) 2025 Æther Authors
 *
 * SPDX-License-Identifier: MIT
 */

#ifndef MESSAGE_STORE_H_
#define MESSAGE_STORE_H_

#include <zephyr/kernel.h>
#include <stdint.h>
#include <stdbool.h>

/* Message store configuration */
#define MSG_STORE_MAX_MESSAGES    10
#define MSG_STORE_MAX_SIZE        128
#define MSG_STORE_MAX_ADDR_LEN    16

/* Message flags */
#define MSG_FLAG_READ        0x01
#define MSG_FLAG_SENT        0x02
#define MSG_FLAG_ACKED       0x04
#define MSG_FLAG_FAILED      0x08
#define MSG_FLAG_BROADCAST   0x10
#define MSG_FLAG_QUEUED      0x20

/* Message entry */
struct msg_entry {
	uint16_t id;                    /* Message ID */
	uint8_t flags;                  /* Message flags */
	uint8_t direction;              /* 0=RX, 1=TX */
	char addr[MSG_STORE_MAX_ADDR_LEN]; /* Source/destination address */
	uint8_t data[MSG_STORE_MAX_SIZE];  /* Message data */
	uint16_t len;                   /* Data length */
	uint32_t timestamp;             /* Reception/send time */
	uint8_t retry_count;            /* TX retry count */
	struct k_sem tx_sem;            /* TX completion semaphore */
};

/* Message store context */
struct msg_store {
	struct msg_entry messages[MSG_STORE_MAX_MESSAGES];
	uint16_t next_id;
	struct k_mutex lock;
	
	/* Statistics */
	uint32_t rx_count;
	uint32_t tx_count;
	uint32_t dropped_count;
};

/* Message store API */

/**
 * Initialize message store
 */
void msg_store_init(void);

/**
 * Store received message
 *
 * @param addr Source address
 * @param data Message data
 * @param len Data length
 * @return Message ID on success, negative error code
 */
int msg_store_rx(const char *addr, const uint8_t *data, size_t len);

/**
 * Queue message for transmission
 *
 * @param addr Destination address
 * @param data Message data
 * @param len Data length
 * @param broadcast True for broadcast message
 * @return Message ID on success, negative error code
 */
int msg_store_tx(const char *addr, const uint8_t *data, size_t len, bool broadcast);

/**
 * Get message by ID
 *
 * @param id Message ID
 * @return Message entry or NULL if not found
 */
struct msg_entry *msg_store_get(uint16_t id);

/**
 * Delete message
 *
 * @param id Message ID
 * @return 0 on success, negative error code
 */
int msg_store_delete(uint16_t id);

/**
 * Get number of stored messages
 *
 * @param rx_only Count only received messages
 * @return Number of messages
 */
int msg_store_count(bool rx_only);

/**
 * Get next unread received message
 *
 * @return Message entry or NULL if no unread messages
 */
struct msg_entry *msg_store_get_unread(void);

/**
 * Mark message as read
 *
 * @param id Message ID
 * @return 0 on success, negative error code
 */
int msg_store_mark_read(uint16_t id);

/**
 * Mark TX message as sent
 *
 * @param id Message ID
 * @param success True if sent successfully
 * @return 0 on success, negative error code
 */
int msg_store_mark_sent(uint16_t id, bool success);

/**
 * Get next queued TX message
 *
 * @return Message entry or NULL if no queued messages
 */
struct msg_entry *msg_store_get_tx_queued(void);

/**
 * Clean up old messages
 *
 * @param max_age_ms Maximum age in milliseconds
 * @return Number of messages deleted
 */
int msg_store_cleanup(uint32_t max_age_ms);

/**
 * Get store statistics
 *
 * @param rx_count Pointer to RX count (can be NULL)
 * @param tx_count Pointer to TX count (can be NULL)
 * @param dropped_count Pointer to dropped count (can be NULL)
 */
void msg_store_get_stats(uint32_t *rx_count, uint32_t *tx_count, uint32_t *dropped_count);

#endif /* MESSAGE_STORE_H_ */
```
